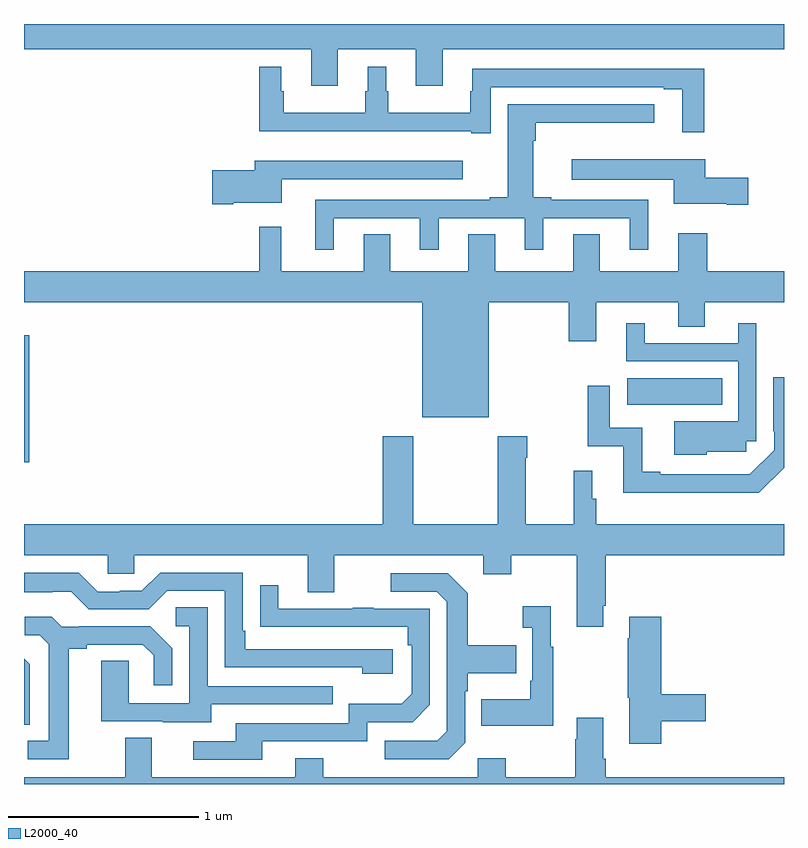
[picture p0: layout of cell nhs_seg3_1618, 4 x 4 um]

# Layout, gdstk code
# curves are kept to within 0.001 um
import gdstk
lib = gdstk.Library(unit=1e-6, precision=1e-09)
def R(c, l, rs):  # rectangles x0, y0, x1, y1
    for r in rs: c.add(gdstk.rectangle(r[:2], r[2:], *l))
def P(c, l, *ps):  # polygons
    for p in ps: c.add(gdstk.Polygon(p, *l))
L2000_40 = (2000, 40)

nhs_seg3_1618 = lib.new_cell('nhs_seg3_1618')
R(nhs_seg3_1618, L2000_40, [(195,680.094,195.028,680.761), (198.174,680.396,198.674,680.536)])
P(nhs_seg3_1618, L2000_40, [(196.651,682.268),(197.063,682.268),(197.063,682.074),(197.203,682.074),(197.203,682.268),(199,682.268),(199,682.4),(195,682.4),(195,682.268),(196.511,682.268),(196.511,682.074),(196.651,682.074)],
  [(197.457,682.068),(198.368,682.068),(198.368,682.056),(198.464,682.056),(198.464,681.831),(198.581,681.831),(198.581,682.164),(197.36,682.164),(197.36,682.046),(197.349,682.046),(197.349,681.934),(196.918,681.934),(196.918,682.046),(196.906,682.046),(196.906,682.174),(196.808,682.174),(196.808,682.046),(196.797,682.046),(196.797,681.934),(196.366,681.934),(196.366,682.046),(196.354,682.046),(196.354,682.174),(196.237,682.174),(196.237,681.836),(197.354,681.836),(197.354,681.825),(197.457,681.825)],
  [(196.63,681.378),(197.084,681.378),(197.084,681.213),(197.182,681.213),(197.182,681.378),(197.636,681.378),(197.636,681.213),(197.734,681.213),(197.734,681.378),(198.188,681.378),(198.188,681.213),(198.286,681.213),(198.286,681.474),(197.776,681.474),(197.776,681.487),(197.68,681.487),(197.68,681.785),(197.693,681.785),(197.693,681.881),(198.316,681.881),(198.316,681.978),(197.546,681.978),(197.546,681.487),(197.45,681.487),(197.45,681.474),(196.532,681.474),(196.532,681.213),(196.63,681.213)],
  [(198.811,681.59),(198.586,681.59),(198.586,681.688),(197.883,681.688),(197.883,681.581),(198.419,681.581),(198.419,681.455),(198.698,681.455),(198.698,681.448),(198.811,681.448)],
  [(196.102,681.458),(196.357,681.458),(196.357,681.582),(197.308,681.582),(197.308,681.679),(196.214,681.679),(196.214,681.629),(195.99,681.629),(195.99,681.451),(196.102,681.451)],
  [(197.446,680.936),(197.866,680.936),(197.866,680.73),(198.013,680.73),(198.013,680.936),(198.443,680.936),(198.443,680.806),(198.583,680.806),(198.583,680.936),(199,680.936),(199,681.1),(198.596,681.1),(198.596,681.298),(198.443,681.298),(198.443,681.1),(198.031,681.1),(198.031,681.293),(197.891,681.293),(197.891,681.1),(197.479,681.1),(197.479,681.293),(197.339,681.293),(197.339,681.1),(196.927,681.1),(196.927,681.293),(196.787,681.293),(196.787,681.1),(196.355,681.1),(196.355,681.334),(196.237,681.334),(196.237,681.1),(195,681.1),(195,680.936),(197.096,680.936),(197.096,680.33),(197.446,680.33)],
  [(198.594,680.15),(198.801,680.15),(198.801,680.205),(198.855,680.205),(198.855,680.824),(198.758,680.824),(198.758,680.721),(198.268,680.721),(198.268,680.824),(198.17,680.824),(198.17,680.625),(198.759,680.625),(198.759,680.308),(198.422,680.308),(198.422,680.132),(198.594,680.132)],
  [(199,680.065),(199,680.542),(198.944,680.542),(198.944,680.257),(198.948,680.257),(198.948,680.157),(198.82,680.029),(198.719,680.029),(198.719,680.031),(198.349,680.031),(198.349,680.044),(198.253,680.044),(198.253,680.274),(198.084,680.274),(198.084,680.497),(197.968,680.497),(197.968,680.178),(198.155,680.178),(198.155,679.934),(198.667,679.934),(198.667,679.932),(198.866,679.932)],
  [(198.011,679.901),(197.992,679.901),(197.992,680.05),(197.893,680.05),(197.893,679.768),(197.641,679.768),(197.641,680.117),(197.649,680.117),(197.649,680.23),(197.494,680.23),(197.494,679.768),(197.049,679.768),(197.049,680.23),(196.889,680.23),(196.889,679.768),(195,679.768),(195,679.604),(195.441,679.604),(195.441,679.506),(195.579,679.506),(195.579,679.604),(196.493,679.604),(196.493,679.41),(196.633,679.41),(196.633,679.604),(197.417,679.604),(197.417,679.505),(197.565,679.505),(197.565,679.604),(197.909,679.604),(197.909,679.227),(198.049,679.227),(198.049,679.339),(198.062,679.339),(198.062,679.604),(199,679.604),(199,679.768),(198.011,679.768)],
  [(196.942,679.11),(196.165,679.11),(196.165,679.207),(196.152,679.207),(196.152,679.512),(195.717,679.512),(195.621,679.416),(195.503,679.416),(195.503,679.413),(195.387,679.413),(195.287,679.513),(195,679.513),(195,679.409),(195.149,679.409),(195.149,679.413),(195.249,679.413),(195.342,679.32),(195.657,679.32),(195.753,679.416),(196.056,679.416),(196.056,679.014),(196.781,679.014),(196.781,678.98),(196.942,678.98)],
  [(197.322,678.618),(197.322,678.887),(197.335,678.887),(197.335,678.983),(197.591,678.983),(197.591,679.131),(197.335,679.131),(197.335,679.403),(197.229,679.509),(196.929,679.509),(196.929,679.413),(197.172,679.413),(197.226,679.359),(197.226,678.678),(197.175,678.627),(196.899,678.627),(196.899,678.531),(197.235,678.531)],
  [(196.255,678.624),(196.806,678.624),(196.806,678.726),(197.046,678.726),(197.136,678.816),(197.136,679.323),(196.841,679.323),(196.841,679.328),(196.729,679.328),(196.729,679.323),(196.339,679.323),(196.339,679.447),(196.243,679.447),(196.243,679.228),(197.02,679.227),(197.02,679.13),(197.04,679.13),(197.04,678.876),(196.987,678.823),(196.71,678.823),(196.71,678.72),(196.115,678.72),(196.115,678.624),(195.891,678.624),(195.891,678.528),(196.255,678.528)],
  [(197.785,679.123),(197.773,679.123),(197.773,679.336),(197.625,679.336),(197.625,679.223),(197.676,679.223),(197.676,678.943),(197.664,678.943),(197.664,678.847),(197.407,678.847),(197.407,678.707),(197.785,678.707)],
  [(195.985,678.819),(196.625,678.819),(196.625,678.915),(195.966,678.915),(195.966,679.331),(195.798,679.331),(195.798,679.23),(195.87,679.23),(195.87,678.825),(195.552,678.825),(195.552,679.049),(195.407,679.049),(195.407,678.729),(195.731,678.729),(195.731,678.725),(195.985,678.725)],
  [(195.235,679.112),(195.331,679.112),(195.331,679.134),(195.626,679.134),(195.683,679.077),(195.683,678.921),(195.78,678.921),(195.78,679.114),(195.664,679.23),(195.292,679.23),(195.292,679.227),(195.198,679.227),(195.146,679.279),(195.003,679.279),(195.003,679.182),(195.084,679.182),(195.131,679.135),(195.131,678.627),(195.021,678.627),(195.021,678.531),(195.235,678.531)],
  [(198.353,678.73),(198.589,678.73),(198.589,678.872),(198.353,678.872),(198.353,679.279),(198.185,679.279),(198.185,679.166),(198.178,679.166),(198.178,678.855),(198.185,678.855),(198.185,678.612),(198.353,678.612)],
  [(195.03,679.03),(195,679.06),(195,678.712),(195.03,678.712)],
  [(199,678.436),(198.062,678.436),(198.062,678.532),(198.049,678.532),(198.049,678.748),(197.909,678.748),(197.909,678.635),(197.902,678.635),(197.902,678.436),(197.535,678.436),(197.535,678.535),(197.388,678.535),(197.388,678.436),(196.575,678.436),(196.575,678.535),(196.427,678.535),(196.427,678.436),(195.673,678.436),(195.673,678.644),(195.533,678.644),(195.533,678.436),(195,678.436),(195,678.4),(199,678.4)])

lib.write_gds('nhs_seg3_1618.gds')
